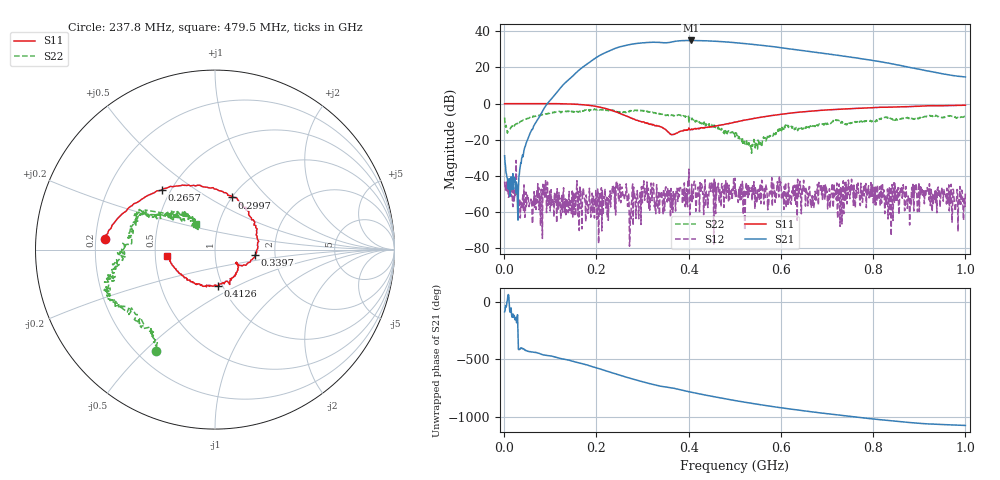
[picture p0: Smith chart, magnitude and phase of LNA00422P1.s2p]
! Created with skrf 1.9.0 (http://scikit-rf.org).
# Hz S RI R 50.0
!freq ReS11 ImS11 ReS21 ImS21 ReS12 ImS12 ReS22 ImS22
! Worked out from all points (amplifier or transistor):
!   1001 points, 1 MHz to 1 GHz, reference 50 ohm
!   highest |S21| = 34.9 dB at 404.6 MHz (marker M1)
!   |S21| within 3 dB of that: 259.8 MHz to 568.3 MHz (308.5 MHz wide, 74.5 % of centre)
!   unconditionally stable (mu >= 1): 8.228 MHz to 67.68 MHz; 278.7 MHz to 400.1 MHz; 400.9 MHz to end of sweep (the widest 3 of 40)
!   at 166.8 MHz: K = 3.40, MAG = 30.6 dB, |S12| = -58.2 dB
!   at 500.5 MHz: K = 1.25, MAG = 34.5 dB, |S12| = -41.3 dB
!   at 1 GHz: K = 4.04, MAG = 22.7 dB, |S12| = -48.7 dB
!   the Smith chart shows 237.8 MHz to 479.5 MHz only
!   S11 on the Smith chart (normalised r, x): 237.8 MHz: 0.24, +0.04; 265.7 MHz: 0.45, +0.37; 299.7 MHz: 1.01, +0.64; 339.7 MHz: 1.58, -0.10; 412.6 MHz: 0.95, -0.40; 479.5 MHz: 0.58, -0.04
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1000000  0.9871 0.00547  0.00379 -0.0356  0.00387 0.0057  0.3309 0.2444
1.08892e8  0.5271 -0.8454  -0.781 -1.493  0.00334 0.000815  0.4114 -0.3831
1.67833e8  -0.2198 -0.9077  -9.638 -0.6621  5.14e-05 0.00144  0.0353 -0.6341
2.08792e8  -0.6637 -0.4228  -15.64 15.52  0.00162 -0.00133  -0.2229 -0.6375
2.37763e8  -0.6142 0.0579  -4.558 32.43  -0.00173 -0.003  -0.3303 -0.5646
2.65735e8  -0.297 0.3326  18.44 36.68  -0.00175 -0.00371  -0.4803 -0.3617
2.99701e8  0.0963 0.2905  43.7 20.05  -0.00176 -0.000253  -0.6032 -0.225
3.18682e8  0.2141 0.1645  49.59 4.423  -0.00617 0.00129  -0.5759 -0.114
3.34666e8  0.239 0.018  48.71 -9.01  -0.00374 0.000266  -0.522 -0.0108
3.39661e8  0.2244 -0.0287  47.36 -12.49  -0.000793 0.00229  -0.5201 0.00187
3.73627e8  0.128 -0.0833  42.29 -32.91  -0.00124 0.00415  -0.4397 0.1689
4.04596e8  0.0543 -0.1842  22.39 -51.19  0.00234 0.00217  -0.3268 0.1839
4.12588e8  0.015 -0.2015  16.37 -53.08  0.00344 0.00618  -0.2569 0.1785
4.43557e8  -0.1371 -0.1783  -7.44 -53.51  -1.07e-05 0.0027  -0.1609 0.197
4.79521e8  -0.2664 -0.0336  -29.42 -41.83  0.00285 0.00337  -0.1073 0.1427
5.005e8  -0.2972 0.0836  -37.46 -31.05  0.00746 0.00424  -0.0876 0.081
5.4046e8  -0.2469 0.299  -42.09 -9.755  0.00191 0.00208  -0.0793 -0.0134
5.88412e8  -0.0616 0.4775  -35.22 10.63  0.00235 -0.00233  -0.132 -0.0781
6.67333e8  0.3131 0.5356  -13.68 23.13  -0.000461 -0.00275  -0.2308 -0.0398
7.53247e8  0.6202 0.3739  3.377 18.79  -0.00543 -0.0059  -0.2902 0.0204
8.34166e8  0.7814 0.1488  9.315 9.155  -0.00239 0.000448  -0.3967 0.0454
1e9  0.8146 -0.3846  5.461 0.1732  -0.00293 -0.00222  -0.2228 0.3707
